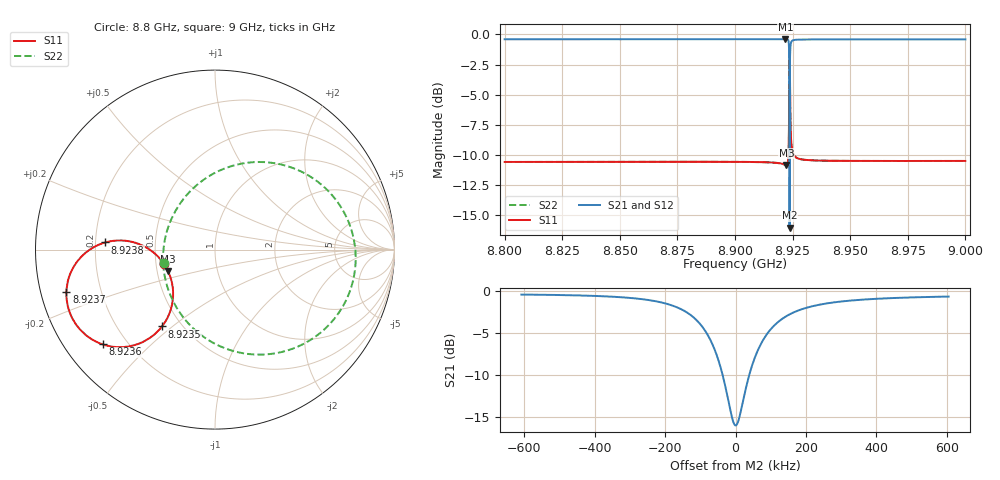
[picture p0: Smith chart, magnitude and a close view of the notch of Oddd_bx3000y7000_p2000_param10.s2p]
! Sonnet Data File
! From: emgraph Version : 16.52
! From Project: Resonator2
! Data is De-embedded
! Data File Written: 10/05/2017 10:46:05
!< HDATE 10/04/2017 20:26:48
!< MDATE 10/05/2017 00:36:07
!< PARAMS
!< gap = 86.0
!< Length = 400.0
!< Pwid1 = 2000.0
!< Pwid2 = 2000.0
!< END PARAMS
# GHZ S MA R 50.00000
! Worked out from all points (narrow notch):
!   1595 points, 8.8 GHz to 9 GHz, reference 50 ohm
!   highest |S21| = -0.38 dB at 8.9219 GHz (marker M1); lowest = -16.0 dB at 8.9237 GHz (marker M2)
!   notch at M2: 15.6 dB deep, 102 kHz wide at half that depth
!   lowest |S11| = -10.8 dB at 8.9223 GHz (marker M3), VSWR 1.81, Z = 28.6 - j7.55 ohm
!   |S11| at or under -10 dB: start of sweep to 8.9232 GHz; 8.9255 GHz to end of sweep
!   |S22| runs from -10.9 to -2.1 dB; largest |S21 - S12| = 0
!   S11 on the Smith chart (normalised r, x): 8.8 GHz: 0.55, -0.10; 8.9235 GHz: 0.39, -0.46; 8.9236 GHz: 0.11, -0.36; 8.9237 GHz: 0.08, -0.14; 8.9238 GHz: 0.24, +0.03; 9 GHz: 0.55, -0.08
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8.8  0.296 -164.4  0.9552 -74.9  0.9552 -74.9  0.296 -165.3
!< P1 F=8.8 Eeff=(5.36817953 -2.3731e-5) Z0=(35.9853883 8.0522e-5) R=0.0 C=0.0
!< P2 F=8.8 Eeff=(5.36817953 -2.3731e-5) Z0=(35.9853883 8.0522e-5) R=0.0 C=0.0
8.8334  0.2963 -164.7  0.9551 -75.2  0.9551 -75.2  0.2963 -165.7
8.8668  0.2965 -164.9  0.955 -75.5  0.955 -75.5  0.2965 -166.1
8.9  0.2963 -164.8  0.9551 -75.9  0.9551 -75.9  0.2963 -167.0
8.917163  0.2939 -163.4  0.9558 -76.7  0.9558 -76.7  0.2938 -170.0
8.921917  0.2883 -157.5  0.957 -79.2  0.957 -79.2  0.2869 179.1
8.922319  0.2878 -155.1  0.9568 -80.2  0.9568 -80.2  0.2854 174.6
8.923192  0.3176 -137.8  0.9417 -87.9  0.9417 -87.9  0.3015 140.6
8.923396  0.3951 -127.6  0.9004 -95.9  0.9004 -95.9  0.3598 110.5
8.923505  0.5201 -124.6  0.8121 -105.7  0.8121 -105.7  0.4629 81.4
8.923581  0.6861 -129.6  0.6337 -117.8  0.6337 -117.8  0.6067 50.9
8.923633  0.8193 -139.9  0.3873 -125.0  0.3873 -125.0  0.7263 23.0
8.923682  0.8824 -154.3  0.158 -79.4  0.158 -79.4  0.7878 -7.4
8.923715  0.8613 -164.0  0.2844 -36.3  0.2844 -36.3  0.774 -27.2
8.923769  0.7605 -175.8  0.5459 -36.8  0.5459 -36.8  0.6921 -54.2
8.923849  0.6136 176.3  0.7468 -47.6  0.7468 -47.6  0.5688 -80.9
8.924003  0.4643 174.7  0.8717 -58.9  0.8717 -58.9  0.4425 -108.5
8.924203  0.3906 177.7  0.915 -64.9  0.915 -64.9  0.3798 -125.9
8.9252  0.3215 -173.4  0.9462 -72.0  0.9462 -72.0  0.3199 -150.5
8.933356  0.3007 -167.0  0.9537 -75.3  0.9537 -75.3  0.3006 -163.6
8.9668  0.2988 -166.2  0.9543 -76.1  0.9543 -76.1  0.2988 -165.9
9  0.2989 -166.4  0.9543 -76.4  0.9543 -76.4  0.2989 -166.5
